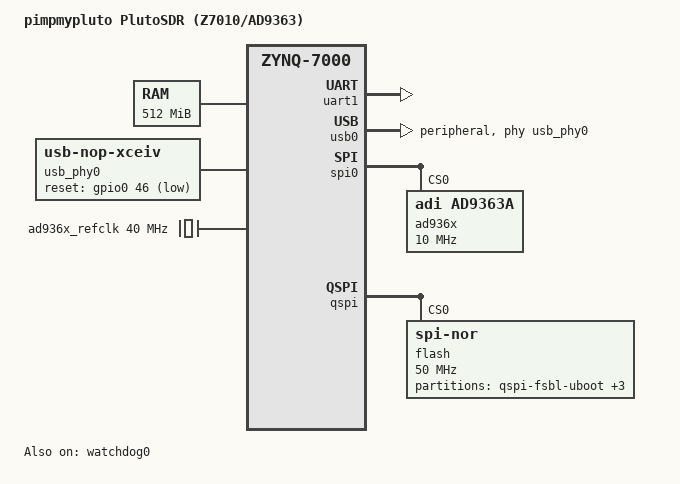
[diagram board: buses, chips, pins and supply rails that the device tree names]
// SPDX-License-Identifier: GPL-2.0
/*
 * PlutoSDR-compatible board (Zynq 7010 CLG400 clone, AD9363, 512 MB, W25Q256)
 * for a mainline kernel.
 *
 * Describes hardware only.  Nothing here binds an ADI driver: the AD936x is
 * reached through spidev (bound by /init with driver_override), the converter
 * cores' registers through UIO, and the sample DMA through pmpstream.
 */
/dts-v1/;
#include "zynq-7000.dtsi"
#include <dt-bindings/gpio/gpio.h>
#include <dt-bindings/interrupt-controller/arm-gic.h>

/ {
	model = "pimpmypluto PlutoSDR (Z7010/AD9363)";
	compatible = "pmp,pluto", "xlnx,zynq-7000";

	aliases {
		serial0 = &uart1;
		spi0 = &spi0;
		spi1 = &qspi;
	};

	chosen {
		stdout-path = "serial0:115200n8";
	};

	memory@0 {
		device_type = "memory";
		reg = <0x0 0x20000000>;
	};

	reserved-memory {
		#address-cells = <1>;
		#size-cells = <1>;
		ranges;

		/* Console log that survives a warm reset.  A board with no
		 * serial header wired up has no other way to say why it
		 * died; tools/lastlog.py reads this back. */
		ramoops@1bf00000 {
			compatible = "ramoops";
			reg = <0x1bf00000 0x00100000>;
			record-size = <0x20000>;
			console-size = <0x80000>;
			pmsg-size = <0x10000>;
		};
	};

	usb_phy0: phy0 {
		compatible = "usb-nop-xceiv";
		#phy-cells = <0>;
		reset-gpios = <&gpio0 46 GPIO_ACTIVE_LOW>;
	};

	/* 40 MHz reference into the AD9363 */
	ad936x_refclk: clock-ad936x-ref {
		compatible = "fixed-clock";
		#clock-cells = <0>;
		clock-frequency = <40000000>;
	};

	/* Programmable logic, as laid out by the stock (ADI-derived) bitstream. */
	fpga_axi: fpga-axi@0 {
		compatible = "simple-bus";
		#address-cells = <1>;
		#size-cells = <1>;
		ranges;

		/* axi_ad9361: ADC core at +0, DAC core at +0x4000 */
		uio-ad9361@79020000 {
			compatible = "generic-uio";
			reg = <0x79020000 0x6000>;
		};

		/* ADI axi_dmac cores, driven by mainline's dma-axi-dmac. */
		rx_dma: dma-controller@7c400000 {
			compatible = "adi,axi-dmac-1.00.a";
			reg = <0x7c400000 0x1000>;
			#dma-cells = <1>;
			interrupt-parent = <&intc>;
			interrupts = <GIC_SPI 57 IRQ_TYPE_LEVEL_HIGH>;
			clocks = <&clkc 16>;
		};

		tx_dma: dma-controller@7c420000 {
			compatible = "adi,axi-dmac-1.00.a";
			reg = <0x7c420000 0x1000>;
			#dma-cells = <1>;
			interrupt-parent = <&intc>;
			interrupts = <GIC_SPI 56 IRQ_TYPE_LEVEL_HIGH>;
			clocks = <&clkc 16>;
		};
	};

	/* os/kernel/pmpstream: /dev/pmp-tx, /dev/pmp-rx */
	sample-streams {
		compatible = "pmp,stream";
		dmas = <&tx_dma 0>, <&rx_dma 0>;
		dma-names = "tx", "rx";
		/* axi_ad9361 ADC core: pmpstream gates its DMA channels around
		 * RX starts.  A property, not reg: the region is UIO's. */
		pmp,adc-core = <0x79020000>;
	};
};

/*
 * This board's DRAM mis-samples address line A7 during writes when the address
 * pins are driven the way the vendor FSBL (Xilinx's default) sets them:
 * 0x0018c61c = drive P/N 0x1c/0x0c, slew P/N 3/3.  A 16-byte burst then lands
 * 0x100 bytes away.  The board wants gentler edges.  Measured with
 * tools/ddr-sweep.sh and two-core tools/memtest.sh runs (lost-write errors):
 *
 *   slew (drive 0x1c):  3 -> 128   1 -> 24   0 -> 0   6 -> board dies
 *   drive (slew 0):     0x0e dies, 0x11 -> 312, 0x13..0x1e -> 0, 0x20+ dies
 *
 * So: slowest slew, and drive in the middle of its clean window.
 */
&slcr {
	pmp,ddriob-drive-slew-addr = <0x00000518>;	/* drive P/N 0x18/0x0a, slew 0/0 */
	/* Data and strobe pins: Xilinx's default 0x00f9861c has slew N=31, the
	 * fastest setting.  6/6 is under test (2026-09-23) against the CPU
	 * executing garbage under ADC DMA + USB DMA; see "Known issues". */
	pmp,ddriob-drive-slew-data = <0x0004861c>;	/* drive P/N 0x1c/0x0c, slew 6/6 */
	pmp,ddriob-drive-slew-diff = <0x0004861c>;
};

&clkc {
	ps-clk-frequency = <33333333>;
	fclk-enable = <0xf>;
};

&uart1 {
	status = "okay";
};

&gpio0 {
	status = "okay";
};

&watchdog0 {
	status = "okay";
	reset-on-timeout;
	timeout-sec = <30>;
};

&usb0 {
	status = "okay";
	dr_mode = "peripheral";
	/* "phys", not the "usb-phy" the mainline Zynq boards use: chipidea
	 * only defers its probe for a PHY named this way.  With "usb-phy" it
	 * falls back to a lookup by type that returns -ENODEV if the PHY has
	 * not probed yet, and the controller silently never binds. */
	phys = <&usb_phy0>;
};

&spi0 {
	status = "okay";

	/* EMIO GPIOs (base 54): 66 = EN_AGC, 67 = RESETB */
	ad936x: transceiver@0 {
		compatible = "adi,ad9363a";
		reg = <0>;
		spi-cpha;
		spi-max-frequency = <10000000>;
		clocks = <&ad936x_refclk>;
	};
};

&qspi {
	status = "okay";
	num-cs = <1>;

	flash@0 {
		compatible = "jedec,spi-nor";
		reg = <0>;
		/* Single-bit I/O on purpose: quad reads need the flash's
		 * non-volatile Quad Enable bit, and Linux should never have a
		 * reason to write this chip's status registers. */
		spi-tx-bus-width = <1>;
		spi-rx-bus-width = <1>;
		spi-max-frequency = <50000000>;

		partitions {
			compatible = "fixed-partitions";
			#address-cells = <1>;
			#size-cells = <1>;

			/* The bootloader is the restore path.  Linux never
			 * writes it; firmware updates go through U-Boot DFU. */
			partition@0 {
				label = "qspi-fsbl-uboot";
				reg = <0x0 0x100000>;
				read-only;
			};
			partition@100000 {
				label = "qspi-uboot-env";
				reg = <0x100000 0x20000>;
				read-only;
			};
			partition@120000 {
				label = "qspi-nvmfs";
				reg = <0x120000 0xe0000>;
			};
			partition@200000 {
				label = "qspi-linux";
				reg = <0x200000 0x1e00000>;
				read-only;
			};
		};
	};
};
